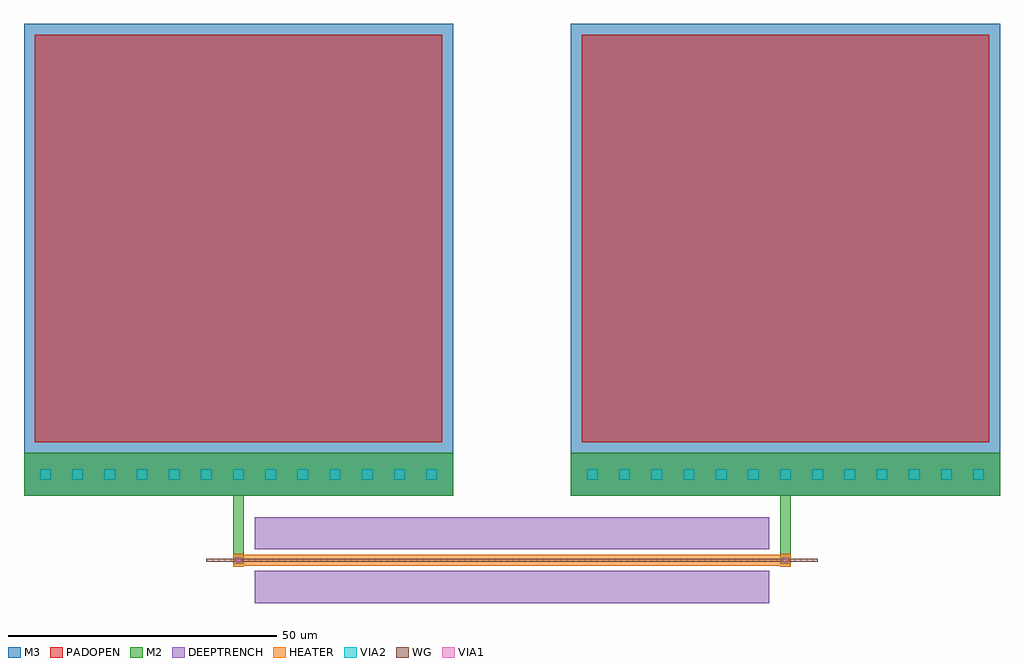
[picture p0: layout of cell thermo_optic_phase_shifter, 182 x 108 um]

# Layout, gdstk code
import gdstk
lib = gdstk.Library(unit=1e-6, precision=1e-09)
def R(c, l, rs):  # rectangles x0, y0, x1, y1
    for r in rs: c.add(gdstk.rectangle(r[:2], r[2:], *l))
def A(c, l, x, y, w, h, nx, ny, dx, dy):  # array of equal rectangles
    R(c, l, [(x+i*dx, y+j*dy, x+i*dx+w, y+j*dy+h) for i in range(nx) for j in range(ny)])
def P(c, l, *ps):  # polygons
    for p in ps: c.add(gdstk.Polygon(p, *l))
WG = (1, 0)
DEEPTRENCH = (4, 0)
VIA2 = (43, 0)
VIA1 = (44, 0)
M2 = (45, 0)
PADOPEN = (46, 0)
HEATER = (47, 0)
M3 = (49, 0)

thermo_optic_phase_shift = lib.new_cell('thermo_optic_phase_shifter')
R(thermo_optic_phase_shift, WG, [(-57,-0.25,57,0.25)])
R(thermo_optic_phase_shift, DEEPTRENCH, [(-48,-8,48,-2), (-48,2,48,8)])
A(thermo_optic_phase_shift, VIA2, -88, 15, 2, 2, 13, 1, 6, 0)
A(thermo_optic_phase_shift, VIA2, 14, 15, 2, 2, 13, 1, 6, 0)
R(thermo_optic_phase_shift, VIA1, [(-51.5,-0.5,-50.5,0.5), (50.5,-0.5,51.5,0.5)])
P(thermo_optic_phase_shift, M2, [(-52,-0.8),(-52,12),(-91,12),(-91,20),(-11,20),(-11,12),(-50,12),(-50,-0.8)],
  [(50,-0.8),(50,12),(11,12),(11,20),(91,20),(91,12),(52,12),(52,-0.8)])
R(thermo_optic_phase_shift, PADOPEN, [(-89,22,-13,98), (13,22,89,98)])
P(thermo_optic_phase_shift, HEATER, [(-52,-1.2),(-52,1.2),(-50,1.2),(-50,1),(50,1),(50,1.2),(52,1.2),(52,-1.2),(50,-1.2),(50,-1),(-50,-1),(-50,-1.2)])
R(thermo_optic_phase_shift, M3, [(-91,12,-11,100), (11,12,91,100)])

lib.write_gds('thermo_optic_phase_shifter.gds')
